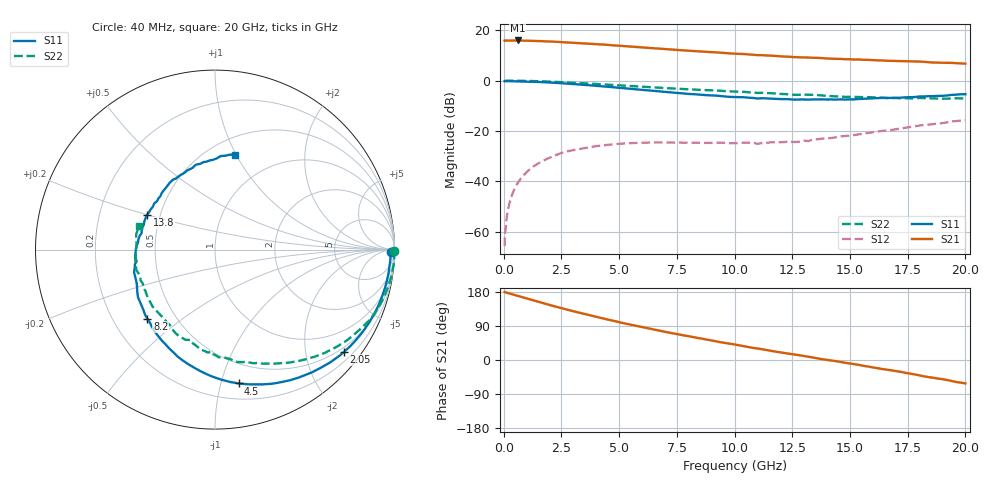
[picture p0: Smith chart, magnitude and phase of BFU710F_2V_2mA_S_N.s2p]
! Filename:  P:\Prog\Test\Noise\ATS_data\Testdata_Net\BFU710\BFU710_2W_A1_2V2mA_D.s2p
! Date/Time: Fri 29/Apr/2011 13:26:50
! BFU710_2W_A1_2V2mA
! bias mode 1: Vout= 2.0001 V, Iout= 2.0100 mA, Vin= 0.7999 V, Iin= 0.0063 mA
! Date/time Wed Mar 16 11:21:20 2011
! Device data file deembeded for feedlines and parallel
! Original file: \BFU710\BFU710_2W_A1_2V2mA_R.s2p
! Feed-files: PR003V01_101208_Feed1.s2p, PR003V01_101208_Feed2.s2p
! Parallel-file: PR003V01_101208_Par.s2p
# MHz S MA R 50
!  Freq-MHz  S11-mag  S11-arg  S21-mag  S21-arg  S12-mag  S12-arg  S22-mag  S22-arg
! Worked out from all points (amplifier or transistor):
!   167 points, 40 MHz to 20 GHz, reference 50 ohm
!   highest |S21| = 16.0 dB at 600 MHz (marker M1)
!   |S21| within 3 dB of that: start of sweep to 6.339 GHz
!   unconditionally stable (mu >= 1): 8.651 GHz to 17.83 GHz
!   at 550 MHz: K = -0.01, MSG = 28.8 dB, |S12| = -41.6 dB
!   at 4.2 GHz: K = 0.37, MSG = 20.1 dB, |S12| = -25.8 dB
!   at 20 GHz: K = 0.83, MSG = 11.2 dB, |S12| = -15.7 dB
!   lowest NFmin = 0.56 dB at 400 MHz
!   S11 on the Smith chart (normalised r, x): 40 MHz: 66, -41; 2.05 GHz: 0.39, -2.82; 4.5 GHz: 0.33, -1.14; 8.2 GHz: 0.35, -0.38; 13.8 GHz: 0.42, +0.20; 20 GHz: 0.67, +0.98
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40  0.9784 -0.8  6.267 179.4  0.0005131 85.3  0.9994 -0.4
50  0.9818 -1.4  6.286 178.8  0.0008586 115.5  0.9989 -0.5
60  0.9756 -1.1  6.214 178.5  0.0009608 92.7  0.9998 -0.6
220  0.9779 -4.2  6.269 176.1  0.003212 89.5  0.9998 -2.3
600  0.9717 -11.4  6.301 169.2  0.009137 84.8  0.9969 -6.4
1400  0.9476 -26.4  6.163 155.1  0.02131 73.4  0.9794 -15.0
2050  0.9171 -38.4  5.986 144.1  0.0303 65.2  0.9581 -21.8
2700  0.8765 -50.1  5.782 133.6  0.03873 56.3  0.9254 -28.3
3400  0.8313 -62.0  5.532 122.9  0.04495 48.1  0.891 -34.7
4500  0.757 -80.0  5.139 106.9  0.05308 37.2  0.8344 -44.0
5600  0.6802 -97.2  4.73 91.8  0.05766 27.4  0.7774 -52.8
6800  0.6068 -114.9  4.304 76.8  0.05914 19.2  0.7223 -61.5
8200  0.54 -134.3  3.898 60.5  0.05855 14.0  0.6683 -71.4
9400  0.4937 -151.2  3.593 46.8  0.05856 11.2  0.6288 -80.5
10200  0.4701 -161.2  3.42 38.9  0.05764 11.8  0.6021 -86.0
11600  0.441 -179.8  3.139 24.1  0.05954 13.7  0.5638 -97.7
13400  0.4241 157.9  2.851 6.5  0.06778 18.1  0.5219 -112.7
13800  0.4248 152.9  2.797 2.1  0.07064 18.0  0.5084 -117.1
15400  0.4321 133.5  2.634 -13.1  0.0861 18.3  0.473 -132.4
16800  0.4549 116.8  2.477 -27.3  0.1047 14.0  0.4508 -149.1
18200  0.4851 99.8  2.37 -43.0  0.131 6.0  0.45 -169.2
20000  0.5373 78.2  2.18 -61.9  0.1647 -6.0  0.4421 162.9
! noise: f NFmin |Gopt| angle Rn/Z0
400  0.5593  0.7315  2.9  0.4233
850  0.5827  0.7145  8.24  0.419
1500  0.618  0.6928  15.68  0.4101
2150  0.6551  0.673  22.8  0.3983
3000  0.7063  0.648  31.74  0.3791
4300  0.7905  0.6085  44.93  0.3433
6200  0.9267  0.5465  64.25  0.2822
8600  1.121  0.4706  90.66  0.203
1.3e+04  1.54  0.3659  146.8  0.1091
1.8e+04  2.117  0.3591  250.2  0.2056
